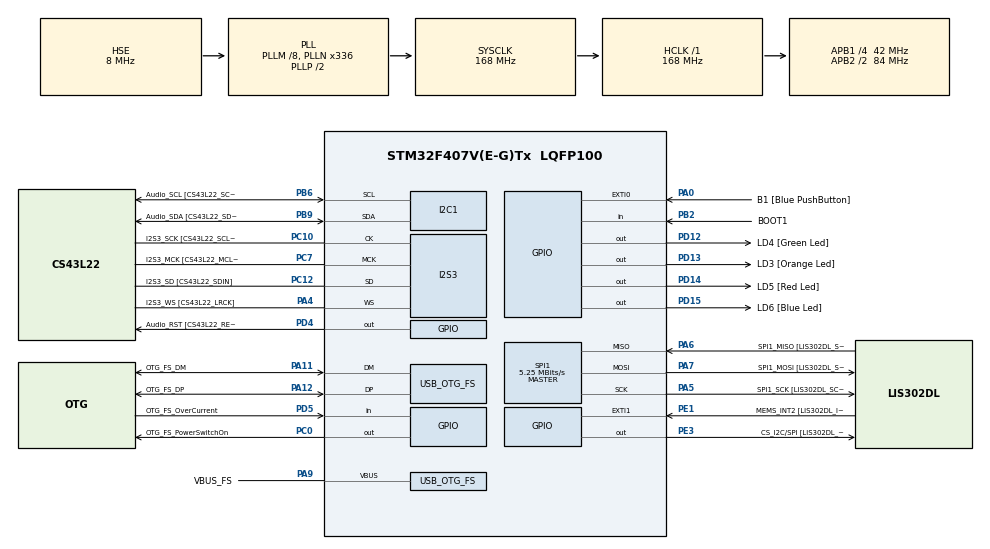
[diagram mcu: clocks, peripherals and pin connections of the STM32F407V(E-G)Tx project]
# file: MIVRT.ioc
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I2S3.AudioFreq-Half_Duplex_Master=I2S_AUDIOFREQ_96K
I2S3.ErrorAudioFreq=-2.34 %
I2S3.ErrorAudioFreq-Half_Duplex_Master=0.8 %
I2S3.FullDuplexMode=I2S_FULLDUPLEXMODE_DISABLE
I2S3.Instance=SPI$Index
I2S3.RealAudioFreq=93.75 KHz
I2S3.RealAudioFreq-Half_Duplex_Master=96.774 KHz
I2S3.VirtualMode=I2S_MODE_MASTER
Mcu.Family=STM32F4
Mcu.Name=STM32F407V(E-G)Tx
Mcu.Package=LQFP100
NVIC.OTG_FS_IRQn=true\:0\:0\:false\:false\:true\:true\:true\:true
NVIC.PriorityGroup=NVIC_PRIORITYGROUP_0
PA0-WKUP.GPIO_Label=B1 [Blue PushButton]
PA0-WKUP.GPIO_ModeDefaultEXTI=GPIO_MODE_EVT_RISING
PA0-WKUP.GPIO_PuPd=GPIO_NOPULL
PA0-WKUP.Signal=GPXTI0
PA10.GPIO_Label=OTG_FS_ID
PA10.GPIO_Mode=GPIO_MODE_AF_PP
PA10.GPIO_PuPd=GPIO_NOPULL
PA10.GPIO_Speed=GPIO_SPEED_FREQ_LOW
PA10.Signal=USB_OTG_FS_ID
PA11.GPIO_Label=OTG_FS_DM
PA11.GPIO_Mode=GPIO_MODE_AF_PP
PA11.GPIO_PuPd=GPIO_NOPULL
PA11.GPIO_Speed=GPIO_SPEED_FREQ_LOW
PA11.Mode=Host_Only
PA11.Signal=USB_OTG_FS_DM
PA12.GPIO_Label=OTG_FS_DP
PA12.GPIO_Mode=GPIO_MODE_AF_PP
PA12.GPIO_PuPd=GPIO_NOPULL
PA12.GPIO_Speed=GPIO_SPEED_FREQ_LOW
PA12.Mode=Host_Only
PA12.Signal=USB_OTG_FS_DP
PA13.GPIO_Label=SWDIO
PA13.Mode=Serial_Wire
PA13.Signal=SYS_JTMS-SWDIO
PA14.GPIO_Label=SWCLK
PA14.Mode=Serial_Wire
PA14.Signal=SYS_JTCK-SWCLK
PA4.GPIO_Label=I2S3_WS [CS43L22_LRCK]
PA4.GPIO_Mode=GPIO_MODE_AF_PP
PA4.GPIO_PuPd=GPIO_NOPULL
PA4.GPIO_Speed=GPIO_SPEED_FREQ_LOW
PA4.Mode=Half_Duplex_Master
PA4.Signal=I2S3_WS
PA5.GPIO_Label=SPI1_SCK [LIS302DL_SCL/SPC]
PA5.GPIO_Mode=GPIO_MODE_AF_PP
PA5.GPIO_PuPd=GPIO_NOPULL
PA5.GPIO_Speed=GPIO_SPEED_FREQ_LOW
PA5.Mode=Full_Duplex_Master
PA5.Signal=SPI1_SCK
PA6.GPIO_Label=SPI1_MISO [LIS302DL_SDO]
PA6.GPIO_Mode=GPIO_MODE_AF_PP
PA6.GPIO_PuPd=GPIO_NOPULL
PA6.GPIO_Speed=GPIO_SPEED_FREQ_LOW
PA6.Mode=Full_Duplex_Master
PA6.Signal=SPI1_MISO
PA7.GPIO_Label=SPI1_MOSI [LIS302DL_SDA/SDI/SDO]
PA7.GPIO_Mode=GPIO_MODE_AF_PP
PA7.GPIO_PuPd=GPIO_NOPULL
PA7.GPIO_Speed=GPIO_SPEED_FREQ_LOW
PA7.Mode=Full_Duplex_Master
PA7.Signal=SPI1_MOSI
PA9.GPIO_Label=VBUS_FS
PA9.GPIO_Mode=GPIO_MODE_INPUT
PA9.GPIO_PuPd=GPIO_NOPULL
PA9.Mode=Activate_VBUS
PA9.Signal=USB_OTG_FS_VBUS
PB10.GPIO_Label=CLK_IN [MP45DT02_CLK]
PB10.GPIO_Mode=GPIO_MODE_AF_PP
PB10.GPIO_PuPd=GPIO_NOPULL
PB10.GPIO_Speed=GPIO_SPEED_FREQ_LOW
PB10.Signal=I2S2_CK
PB2.GPIO_Label=BOOT1
PB2.GPIO_Mode=GPIO_MODE_INPUT
PB2.GPIO_PuPd=GPIO_NOPULL
PB2.Signal=GPIO_Input
PB3.GPIO_Label=SWO
PB3.Signal=SYS_JTDO-SWO
PB6.GPIO_Label=Audio_SCL [CS43L22_SCL]
PB6.GPIO_Mode=GPIO_MODE_AF_OD
PB6.GPIO_Pu=GPIO_PULLUP
PB6.GPIO_PuPd=GPIO_NOPULL
PB6.GPIO_Speed=GPIO_SPEED_FREQ_LOW
PB6.Mode=I2C
PB6.Signal=I2C1_SCL
PB9.GPIO_Label=Audio_SDA [CS43L22_SDA]
PB9.GPIO_Mode=GPIO_MODE_AF_OD
PB9.GPIO_Pu=GPIO_PULLUP
PB9.GPIO_PuPd=GPIO_NOPULL
PB9.GPIO_Speed=GPIO_SPEED_FREQ_LOW
PB9.Mode=I2C
PB9.Signal=I2C1_SDA
PC0.GPIO_Label=OTG_FS_PowerSwitchOn
PC0.GPIO_PuPd=GPIO_NOPULL
PC0.GPIO_Speed=GPIO_SPEED_FREQ_LOW
PC0.PinState=GPIO_PIN_SET
PC0.Signal=GPIO_Output
PC10.GPIO_Label=I2S3_SCK [CS43L22_SCLK]
PC10.GPIO_Mode=GPIO_MODE_AF_PP
PC10.GPIO_PuPd=GPIO_NOPULL
PC10.GPIO_Speed=GPIO_SPEED_FREQ_LOW
PC10.Mode=Half_Duplex_Master
PC10.Signal=I2S3_CK
PC12.GPIO_Label=I2S3_SD [CS43L22_SDIN]
PC12.GPIO_Mode=GPIO_MODE_AF_PP
PC12.GPIO_PuPd=GPIO_NOPULL
PC12.GPIO_Speed=GPIO_SPEED_FREQ_LOW
PC12.Mode=Half_Duplex_Master
PC12.Signal=I2S3_SD
PC14-OSC32_IN.GPIO_Label=PC14-OSC32_IN
PC14-OSC32_IN.Mode=LSE-External-Oscillator
PC14-OSC32_IN.Signal=RCC_OSC32_IN
PC15-OSC32_OUT.GPIO_Label=PC15-OSC32_OUT
PC15-OSC32_OUT.Mode=LSE-External-Oscillator
PC15-OSC32_OUT.Signal=RCC_OSC32_OUT
PC3.GPIO_Label=PDM_OUT [MP45DT02_DOUT]
PC3.GPIO_Mode=GPIO_MODE_AF_PP
PC3.GPIO_PuPd=GPIO_NOPULL
PC3.GPIO_Speed=GPIO_SPEED_FREQ_LOW
PC3.Signal=I2S2_SD
PC7.GPIO_Label=I2S3_MCK [CS43L22_MCLK]
PC7.GPIO_Mode=GPIO_MODE_AF_PP
PC7.GPIO_PuPd=GPIO_NOPULL
PC7.GPIO_Speed=GPIO_SPEED_FREQ_LOW
PC7.Mode=Master_Clock_Activated
PC7.Signal=I2S3_MCK
PD12.GPIO_Label=LD4 [Green Led]
PD12.GPIO_PuPd=GPIO_NOPULL
PD12.GPIO_Speed=GPIO_SPEED_FREQ_LOW
PD12.Signal=GPIO_Output
PD13.GPIO_Label=LD3 [Orange Led]
PD13.GPIO_PuPd=GPIO_NOPULL
PD13.GPIO_Speed=GPIO_SPEED_FREQ_LOW
PD13.Signal=GPIO_Output
PD14.GPIO_Label=LD5 [Red Led]
PD14.GPIO_PuPd=GPIO_NOPULL
PD14.GPIO_Speed=GPIO_SPEED_FREQ_LOW
PD14.Signal=GPIO_Output
PD15.GPIO_Label=LD6 [Blue Led]
PD15.GPIO_PuPd=GPIO_NOPULL
PD15.GPIO_Speed=GPIO_SPEED_FREQ_LOW
PD15.Signal=GPIO_Output
PD4.GPIO_Label=Audio_RST [CS43L22_RESET]
PD4.GPIO_PuPd=GPIO_NOPULL
PD4.GPIO_Speed=GPIO_SPEED_FREQ_LOW
PD4.Signal=GPIO_Output
PD5.GPIO_Label=OTG_FS_OverCurrent
PD5.GPIO_Mode=GPIO_MODE_INPUT
PD5.GPIO_PuPd=GPIO_NOPULL
PD5.Signal=GPIO_Input
PE1.GPIO_Label=MEMS_INT2 [LIS302DL_INT2]
PE1.GPIO_ModeDefaultEXTI=GPIO_MODE_EVT_RISING
PE1.GPIO_PuPd=GPIO_NOPULL
PE1.Signal=GPXTI1
PE3.GPIO_Label=CS_I2C/SPI [LIS302DL_CS_I2C/SPI]
PE3.GPIO_PuPd=GPIO_NOPULL
PE3.GPIO_Speed=GPIO_SPEED_FREQ_LOW
PE3.PinState=GPIO_PIN_SET
PE3.Signal=GPIO_Output
PH0-OSC_IN.GPIO_Label=PH0-OSC_IN
PH0-OSC_IN.Mode=HSE-External-Oscillator
PH0-OSC_IN.Signal=RCC_OSC_IN
PH1-OSC_OUT.GPIO_Label=PH1-OSC_OUT
PH1-OSC_OUT.Mode=HSE-External-Oscillator
PH1-OSC_OUT.Signal=RCC_OSC_OUT
ProjectManager.HeapSize=0x200
ProjectManager.StackSize=0x400
ProjectManager.TargetToolchain=EWARM V8.50
RCC.48MHZClocksFreq_Value=48000000
RCC.AHBFreq_Value=168000000
RCC.APB1CLKDivider=RCC_HCLK_DIV4
RCC.APB1Freq_Value=42000000
RCC.APB1TimFreq_Value=84000000
RCC.APB2CLKDivider=RCC_HCLK_DIV2
RCC.APB2Freq_Value=84000000
RCC.APB2TimFreq_Value=168000000
RCC.CortexFreq_Value=168000000
RCC.HCLKFreq_Value=168000000
RCC.HSE_VALUE=8000000
RCC.HSI_VALUE=16000000
RCC.PLLM=8
RCC.PLLN=336
RCC.PLLQ=7
RCC.SYSCLKFreq_VALUE=168000000
RCC.SYSCLKSource=RCC_SYSCLKSOURCE_PLLCLK
RCC.VCOOutputFreq_Value=336000000
SPI1.BaudRatePrescaler=SPI_BAUDRATEPRESCALER_16
SPI1.BaudRatePrescaler-Full_Duplex_Master=SPI_BAUDRATEPRESCALER_2
SPI1.CLKPhase=SPI_PHASE_2EDGE
SPI1.CLKPolarity=SPI_POLARITY_HIGH
SPI1.CalculateBaudRate=5.25 MBits/s
SPI1.CalculateBaudRate-Full_Duplex_Master=42.0 MBits/s
SPI1.Direction=SPI_DIRECTION_2LINES
SPI1.Mode=SPI_MODE_MASTER
SPI1.Mode-Full_Duplex_Master=SPI_MODE_MASTER
SPI1.VirtualType=VM_MASTER
USB_HOST.BSP.number=1
USB_HOST.USBH_HandleTypeDef-CDC_FS=hUsbHostFS
USB_HOST.VirtualModeFS=Cdc
USB_HOST0.BSP.STBoard=false
USB_HOST0.BSP.api=Unknown
USB_HOST0.BSP.instance=PC0
USB_HOST0.BSP.ip=GPIO
USB_HOST0.BSP.mode=Output
USB_HOST0.BSP.name=Drive_VBUS_FS
USB_HOST0.BSP.solution=PC0
USB_OTG_FS.VirtualMode=Host_Only
USB_OTG_FS.phy_itface=HCD_PHY_EMBEDDED
VP_USB_HOST_VS_USB_HOST_CDC_FS.Mode=CDC_FS
board=STM32F407G-DISC1

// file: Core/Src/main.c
/* USER CODE BEGIN Header */
/**
  ******************************************************************************
  * @file           : main.c
  * @brief          : Main program body
  ******************************************************************************
  * @attention
  *
  * Copyright (c) 2026 STMicroelectronics.
  * All rights reserved.
  *
  * This software is licensed under terms that can be found in the LICENSE file
  * in the root directory of this software component.
  * If no LICENSE file comes with this software, it is provided AS-IS.
  *
  ******************************************************************************
  */
/* USER CODE END Header */
#include "main.h"
<<<<<<< HEAD
#include "cmsis_os.h"
=======
>>>>>>> d10b0c47cdc4dacc730aea8f66109ccc3d35320e
#include "usb_host.h"

/* USER CODE BEGIN PTD */
<<<<<<< HEAD
#define LIS_READ 0x80 // bit de lectura en el primer byte
#define WHOAMI_REG 0x0F
#define WHOAMI_VAL 0x3F // firma del LIS3DSH
#define LIS_READ    0x80
#define WHOAMI_REG  0x0F
#define CTRL_REG4   0x20
#define CTRL_REG5   0x24
#define CTRL_REG6   0x25
#define OUT_X_L     0x28
=======

>>>>>>> d10b0c47cdc4dacc730aea8f66109ccc3d35320e
/* USER CODE END PTD */

I2C_HandleTypeDef hi2c1;

I2S_HandleTypeDef hi2s3;

SPI_HandleTypeDef hspi1;

/* USER CODE BEGIN PV */
<<<<<<< HEAD
volatile uint8_t who = 0;
volatile uint8_t r4 = 0;
volatile uint8_t r5 = 0;
volatile uint8_t r6 = 0;
volatile uint8_t init_err = 1;
volatile uint8_t raw[6];
volatile int16_t ax, ay, az;
=======

>>>>>>> d10b0c47cdc4dacc730aea8f66109ccc3d35320e
/* USER CODE END PV */

void SystemClock_Config(void);
static void MX_GPIO_Init(void);
static void MX_I2C1_Init(void);
static void MX_I2S3_Init(void);
static void MX_SPI1_Init(void);
void MX_USB_HOST_Process(void);

/* USER CODE BEGIN 0 */
<<<<<<< HEAD
static void cs_low(void) { HAL_GPIO_WritePin( GPIOE, GPIO_PIN_3, GPIO_PIN_RESET);
}
static void cs_high(void) { HAL_GPIO_WritePin(GPIOE, GPIO_PIN_3, GPIO_PIN_SET);
}
=======

>>>>>>> d10b0c47cdc4dacc730aea8f66109ccc3d35320e
/* USER CODE END 0 */

int main(void)
{

  /* MCU Configuration--------------------------------------------------------*/

  /* Reset of all peripherals, Initializes the Flash interface and the Systick. */
  HAL_Init();

  /* Configure the system clock */
  SystemClock_Config();

  /* Initialize all configured peripherals */
  MX_GPIO_Init();
  MX_I2C1_Init();
  MX_I2S3_Init();
  MX_SPI1_Init();
  MX_USB_HOST_Init();

  /* USER CODE BEGIN 2 */
<<<<<<< HEAD
  static void cs_low(void)  { HAL_GPIO_WritePin(GPIOE, GPIO_PIN_3, GPIO_PIN_RESET); }
   static void cs_high(void) { HAL_GPIO_WritePin(GPIOE, GPIO_PIN_3, GPIO_PIN_SET); }

   // Lee 'n' (<= 6) registros consecutivos a partir de 'reg'.
   void lis_read(uint8_t reg, uint8_t *buf, uint16_t n)
   {
       uint8_t tx[7] = {0}, rx[7];
       tx[0] = LIS_READ | reg;                     // dirección + bit de lectura

       cs_low();
       HAL_SPI_TransmitReceive(&hspi1, tx, rx, n + 1, HAL_MAX_DELAY);  // Una transacción de n+1 bytes
       cs_high();

       for (uint16_t i = 0; i < n; i++)
           buf[i] = rx[i + 1];  // Copia los datos utiles a buf, rx[0] se descarta(el sensor aún no estaba contestando)
   }

   void lis_write(uint8_t reg, uint8_t val)
   {
 	  tx[0]=reg & 0x7F;
 	  tx[1]=val;

 	  cs_low();
 	  HAL_SPI_Transmit(&hspi1, tx, 2, HAL_MAX_DELAY); //Envio tx, 2 bytes, no recivo, solo envio porque voy a escribir
 	  cs_high();
   }

   // Devuelve 0 si el sensor responde y queda configurado; 1 si no.
    uint8_t lis_init(void)
   {
 	   uint8_t id;
 	   lis_read(WHOAMI_REG, &id, 1); //creo variable id y leo 1 byte del reg WHOAMI
 	   //Le paso &id (la dirección de id) para que lis_read guarde ahí el resultado.

 	   if (id != WHOAMI_VAL) return 1; //Prueba de vida: si id no es 0x3F  devuelve 1 y sale de la función
 	   lis_write(CTRL_REG4, 0x6F);
 	   lis_write(CTRL_REG6, 0x10);
 	   return 0;
    }
=======

>>>>>>> d10b0c47cdc4dacc730aea8f66109ccc3d35320e
  /* USER CODE END 2 */

  /* Infinite loop */
  while (1)
  {
    MX_USB_HOST_Process();

  }
}

void SystemClock_Config(void)
{
  RCC_OscInitTypeDef RCC_OscInitStruct = {0};
  RCC_ClkInitTypeDef RCC_ClkInitStruct = {0};

  /** Configure the main internal regulator output voltage
  */
  __HAL_RCC_PWR_CLK_ENABLE();
  __HAL_PWR_VOLTAGESCALING_CONFIG(PWR_REGULATOR_VOLTAGE_SCALE1);

  /** Initializes the RCC Oscillators according to the specified parameters
  * in the RCC_OscInitTypeDef structure.
  */
  RCC_OscInitStruct.OscillatorType = RCC_OSCILLATORTYPE_HSE;
  RCC_OscInitStruct.HSEState = RCC_HSE_ON;
  RCC_OscInitStruct.PLL.PLLState = RCC_PLL_ON;
  RCC_OscInitStruct.PLL.PLLSource = RCC_PLLSOURCE_HSE;
  RCC_OscInitStruct.PLL.PLLM = 8;
  RCC_OscInitStruct.PLL.PLLN = 336;
  RCC_OscInitStruct.PLL.PLLP = RCC_PLLP_DIV2;
  RCC_OscInitStruct.PLL.PLLQ = 7;
  if (HAL_RCC_OscConfig(&RCC_OscInitStruct) != HAL_OK)
  {
    Error_Handler();
  }

  /** Initializes the CPU, AHB and APB buses clocks
  */
  RCC_ClkInitStruct.ClockType = RCC_CLOCKTYPE_HCLK|RCC_CLOCKTYPE_SYSCLK
                              |RCC_CLOCKTYPE_PCLK1|RCC_CLOCKTYPE_PCLK2;
  RCC_ClkInitStruct.SYSCLKSource = RCC_SYSCLKSOURCE_PLLCLK;
  RCC_ClkInitStruct.AHBCLKDivider = RCC_SYSCLK_DIV1;
  RCC_ClkInitStruct.APB1CLKDivider = RCC_HCLK_DIV4;
  RCC_ClkInitStruct.APB2CLKDivider = RCC_HCLK_DIV2;

  if (HAL_RCC_ClockConfig(&RCC_ClkInitStruct, FLASH_LATENCY_5) != HAL_OK)
  {
    Error_Handler();
  }
}

static void MX_I2C1_Init(void)
{

  hi2c1.Instance = I2C1;
  hi2c1.Init.ClockSpeed = 100000;
  hi2c1.Init.DutyCycle = I2C_DUTYCYCLE_2;
  hi2c1.Init.OwnAddress1 = 0;
  hi2c1.Init.AddressingMode = I2C_ADDRESSINGMODE_7BIT;
  hi2c1.Init.DualAddressMode = I2C_DUALADDRESS_DISABLE;
  hi2c1.Init.OwnAddress2 = 0;
  hi2c1.Init.GeneralCallMode = I2C_GENERALCALL_DISABLE;
  hi2c1.Init.NoStretchMode = I2C_NOSTRETCH_DISABLE;
  if (HAL_I2C_Init(&hi2c1) != HAL_OK)
  {
    Error_Handler();
  }

}

static void MX_I2S3_Init(void)
{

  hi2s3.Instance = SPI3;
  hi2s3.Init.Mode = I2S_MODE_MASTER_TX;
  hi2s3.Init.Standard = I2S_STANDARD_PHILIPS;
  hi2s3.Init.DataFormat = I2S_DATAFORMAT_16B;
  hi2s3.Init.MCLKOutput = I2S_MCLKOUTPUT_ENABLE;
  hi2s3.Init.AudioFreq = I2S_AUDIOFREQ_96K;
  hi2s3.Init.CPOL = I2S_CPOL_LOW;
  hi2s3.Init.ClockSource = I2S_CLOCK_PLL;
  hi2s3.Init.FullDuplexMode = I2S_FULLDUPLEXMODE_DISABLE;
  if (HAL_I2S_Init(&hi2s3) != HAL_OK)
  {
    Error_Handler();
  }

}

static void MX_SPI1_Init(void)
{

  /* SPI1 parameter configuration*/
  hspi1.Instance = SPI1;
  hspi1.Init.Mode = SPI_MODE_MASTER;
  hspi1.Init.Direction = SPI_DIRECTION_2LINES;
  hspi1.Init.DataSize = SPI_DATASIZE_8BIT;
  hspi1.Init.CLKPolarity = SPI_POLARITY_HIGH;
  hspi1.Init.CLKPhase = SPI_PHASE_2EDGE;
  hspi1.Init.NSS = SPI_NSS_SOFT;
  hspi1.Init.BaudRatePrescaler = SPI_BAUDRATEPRESCALER_16;
  hspi1.Init.FirstBit = SPI_FIRSTBIT_MSB;
  hspi1.Init.TIMode = SPI_TIMODE_DISABLE;
  hspi1.Init.CRCCalculation = SPI_CRCCALCULATION_DISABLE;
  hspi1.Init.CRCPolynomial = 10;
  if (HAL_SPI_Init(&hspi1) != HAL_OK)
  {
    Error_Handler();
  }

}

static void MX_GPIO_Init(void)
{
  GPIO_InitTypeDef GPIO_InitStruct = {0};

  /* GPIO Ports Clock Enable */
  __HAL_RCC_GPIOE_CLK_ENABLE();
  __HAL_RCC_GPIOC_CLK_ENABLE();
  __HAL_RCC_GPIOH_CLK_ENABLE();
  __HAL_RCC_GPIOA_CLK_ENABLE();
  __HAL_RCC_GPIOB_CLK_ENABLE();
  __HAL_RCC_GPIOD_CLK_ENABLE();

  /*Configure GPIO pin Output Level */
  HAL_GPIO_WritePin(CS_I2C_SPI_GPIO_Port, CS_I2C_SPI_Pin, GPIO_PIN_SET);

  /*Configure GPIO pin Output Level */
  HAL_GPIO_WritePin(OTG_FS_PowerSwitchOn_GPIO_Port, OTG_FS_PowerSwitchOn_Pin, GPIO_PIN_SET);

  /*Configure GPIO pin Output Level */
  HAL_GPIO_WritePin(GPIOD, LD4_Pin|LD3_Pin|LD5_Pin|LD6_Pin
                          |Audio_RST_Pin, GPIO_PIN_RESET);

  /*Configure GPIO pin : CS_I2C_SPI_Pin */
  GPIO_InitStruct.Pin = CS_I2C_SPI_Pin;
  GPIO_InitStruct.Mode = GPIO_MODE_OUTPUT_PP;
  GPIO_InitStruct.Pull = GPIO_NOPULL;
  GPIO_InitStruct.Speed = GPIO_SPEED_FREQ_LOW;
  HAL_GPIO_Init(CS_I2C_SPI_GPIO_Port, &GPIO_InitStruct);

  /*Configure GPIO pin : OTG_FS_PowerSwitchOn_Pin */
  GPIO_InitStruct.Pin = OTG_FS_PowerSwitchOn_Pin;
  GPIO_InitStruct.Mode = GPIO_MODE_OUTPUT_PP;
  GPIO_InitStruct.Pull = GPIO_NOPULL;
  GPIO_InitStruct.Speed = GPIO_SPEED_FREQ_LOW;
  HAL_GPIO_Init(OTG_FS_PowerSwitchOn_GPIO_Port, &GPIO_InitStruct);

  /*Configure GPIO pin : PDM_OUT_Pin */
  GPIO_InitStruct.Pin = PDM_OUT_Pin;
  GPIO_InitStruct.Mode = GPIO_MODE_AF_PP;
  GPIO_InitStruct.Pull = GPIO_NOPULL;
  GPIO_InitStruct.Speed = GPIO_SPEED_FREQ_LOW;
  GPIO_InitStruct.Alternate = GPIO_AF5_SPI2;
  HAL_GPIO_Init(PDM_OUT_GPIO_Port, &GPIO_InitStruct);

  /*Configure GPIO pin : B1_Pin */
  GPIO_InitStruct.Pin = B1_Pin;
  GPIO_InitStruct.Mode = GPIO_MODE_EVT_RISING;
  GPIO_InitStruct.Pull = GPIO_NOPULL;
  HAL_GPIO_Init(B1_GPIO_Port, &GPIO_InitStruct);

  /*Configure GPIO pin : BOOT1_Pin */
  GPIO_InitStruct.Pin = BOOT1_Pin;
  GPIO_InitStruct.Mode = GPIO_MODE_INPUT;
  GPIO_InitStruct.Pull = GPIO_NOPULL;
  HAL_GPIO_Init(BOOT1_GPIO_Port, &GPIO_InitStruct);

  /*Configure GPIO pin : CLK_IN_Pin */
  GPIO_InitStruct.Pin = CLK_IN_Pin;
  GPIO_InitStruct.Mode = GPIO_MODE_AF_PP;
  GPIO_InitStruct.Pull = GPIO_NOPULL;
  GPIO_InitStruct.Speed = GPIO_SPEED_FREQ_LOW;
  GPIO_InitStruct.Alternate = GPIO_AF5_SPI2;
  HAL_GPIO_Init(CLK_IN_GPIO_Port, &GPIO_InitStruct);

  /*Configure GPIO pins : LD4_Pin LD3_Pin LD5_Pin LD6_Pin
                           Audio_RST_Pin */
  GPIO_InitStruct.Pin = LD4_Pin|LD3_Pin|LD5_Pin|LD6_Pin
                          |Audio_RST_Pin;
  GPIO_InitStruct.Mode = GPIO_MODE_OUTPUT_PP;
  GPIO_InitStruct.Pull = GPIO_NOPULL;
  GPIO_InitStruct.Speed = GPIO_SPEED_FREQ_LOW;
  HAL_GPIO_Init(GPIOD, &GPIO_InitStruct);

  /*Configure GPIO pin : OTG_FS_OverCurrent_Pin */
  GPIO_InitStruct.Pin = OTG_FS_OverCurrent_Pin;
  GPIO_InitStruct.Mode = GPIO_MODE_INPUT;
  GPIO_InitStruct.Pull = GPIO_NOPULL;
  HAL_GPIO_Init(OTG_FS_OverCurrent_GPIO_Port, &GPIO_InitStruct);

  /*Configure GPIO pin : MEMS_INT2_Pin */
  GPIO_InitStruct.Pin = MEMS_INT2_Pin;
  GPIO_InitStruct.Mode = GPIO_MODE_EVT_RISING;
  GPIO_InitStruct.Pull = GPIO_NOPULL;
  HAL_GPIO_Init(MEMS_INT2_GPIO_Port, &GPIO_InitStruct);

}

void Error_Handler(void)
{
  __disable_irq();
  while (1)
  {
  }
}
